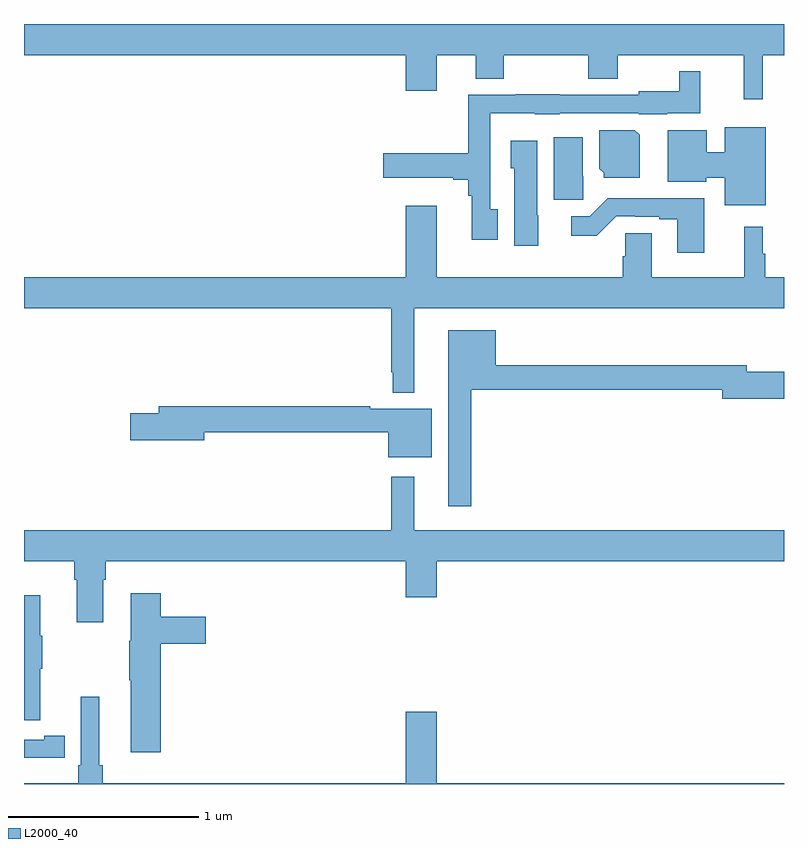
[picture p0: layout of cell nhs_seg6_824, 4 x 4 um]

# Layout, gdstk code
import gdstk
lib = gdstk.Library(unit=1e-6, precision=1e-09)
def P(c, l, *ps):  # polygons
    for p in ps: c.add(gdstk.Polygon(p, *l))
L2000_40 = (2000, 40)

nhs_seg6_824 = lib.new_cell('nhs_seg6_824')
P(nhs_seg6_824, L2000_40, [(166.889,947.336),(167,947.336),(167,947.5),(163,947.5),(163,947.336),(165.008,947.336),(165.008,947.148),(165.172,947.148),(165.172,947.336),(165.377,947.336),(165.377,947.212),(165.525,947.212),(165.525,947.336),(165.97,947.336),(165.97,947.212),(166.125,947.212),(166.125,947.336),(166.789,947.336),(166.789,947.103),(166.889,947.103)],
  [(165.493,946.526),(165.453,946.526),(165.453,947.03),(165.687,947.03),(165.687,947.024),(165.819,947.024),(165.819,947.031),(166.236,947.031),(166.236,947.024),(166.386,947.024),(166.386,947.03),(166.56,947.03),(166.56,947.251),(166.449,947.251),(166.449,947.146),(166.236,947.146),(166.236,947.127),(165.819,947.127),(165.819,947.129),(165.587,947.129),(165.587,947.127),(165.337,947.127),(165.337,946.821),(164.892,946.821),(164.892,946.691),(165.26,946.691),(165.26,946.679),(165.337,946.679),(165.337,946.595),(165.356,946.595),(165.356,946.365),(165.493,946.365)],
  [(166.903,946.957),(166.688,946.957),(166.688,946.826),(166.594,946.826),(166.594,946.94),(166.388,946.94),(166.388,946.67),(166.59,946.67),(166.59,946.691),(166.688,946.691),(166.688,946.547),(166.903,946.547)],
  [(166.24,946.916),(166.214,946.942),(166.028,946.942),(166.028,946.738),(166.05,946.716),(166.05,946.691),(166.24,946.691)],
  [(165.944,946.698),(165.94,946.698),(165.94,946.903),(165.788,946.903),(165.788,946.575),(165.944,946.575)],
  [(165.706,946.494),(165.7,946.494),(165.7,946.885),(165.563,946.885),(165.563,946.74),(165.581,946.74),(165.581,946.332),(165.706,946.332)],
  [(166.579,946.582),(166.072,946.582),(165.978,946.488),(165.879,946.488),(165.879,946.386),(166.014,946.386),(166.116,946.488),(166.216,946.488),(166.216,946.485),(166.343,946.485),(166.343,946.473),(166.439,946.473),(166.439,946.296),(166.579,946.296)],
  [(163,946.004),(164.934,946.004),(164.934,945.667),(164.94,945.667),(164.94,945.56),(165.055,945.56),(165.055,946.004),(167,946.004),(167,946.168),(166.9,946.168),(166.9,946.292),(166.888,946.292),(166.888,946.432),(166.79,946.432),(166.79,946.168),(166.303,946.168),(166.303,946.4),(166.164,946.4),(166.164,946.278),(166.151,946.278),(166.151,946.168),(165.172,946.168),(165.172,946.543),(165.008,946.543),(165.008,946.168),(163,946.168)],
  [(165.355,945.574),(166.676,945.574),(166.676,945.527),(167,945.527),(167,945.669),(166.804,945.669),(166.804,945.703),(165.484,945.703),(165.484,945.889),(165.233,945.889),(165.233,944.961),(165.355,944.961)],
  [(165.145,945.475),(164.822,945.475),(164.822,945.488),(163.709,945.488),(163.709,945.452),(163.56,945.452),(163.56,945.31),(163.948,945.31),(163.948,945.352),(164.918,945.352),(164.918,945.221),(165.145,945.221)],
  [(163.417,944.576),(163.43,944.576),(163.43,944.672),(165.008,944.672),(165.008,944.484),(165.172,944.484),(165.172,944.672),(167,944.672),(167,944.836),(165.055,944.836),(165.055,945.118),(164.934,945.118),(164.934,944.836),(163,944.836),(163,944.672),(163.265,944.672),(163.265,944.576),(163.277,944.576),(163.277,944.352),(163.417,944.352)],
  [(163.721,944.237),(163.957,944.237),(163.957,944.379),(163.721,944.379),(163.721,944.503),(163.562,944.503),(163.562,944.253),(163.555,944.253),(163.555,944.047),(163.562,944.047),(163.562,943.668),(163.721,943.668)],
  [(163.085,944.107),(163.096,944.107),(163.096,944.281),(163.085,944.281),(163.085,944.494),(163,944.494),(163,943.836),(163.085,943.836)],
  [(167,943.504),(165.172,943.504),(165.172,943.879),(165.008,943.879),(165.008,943.504),(163.415,943.504),(163.415,943.6),(163.396,943.6),(163.396,943.96),(163.299,943.96),(163.299,943.6),(163.286,943.6),(163.286,943.504),(163,943.504),(163,943.5),(167,943.5)],
  [(163.106,943.638),(163.214,943.638),(163.214,943.754),(163.106,943.754),(163.106,943.734),(163,943.734),(163,943.637),(163.106,943.637)])

lib.write_gds('nhs_seg6_824.gds')
